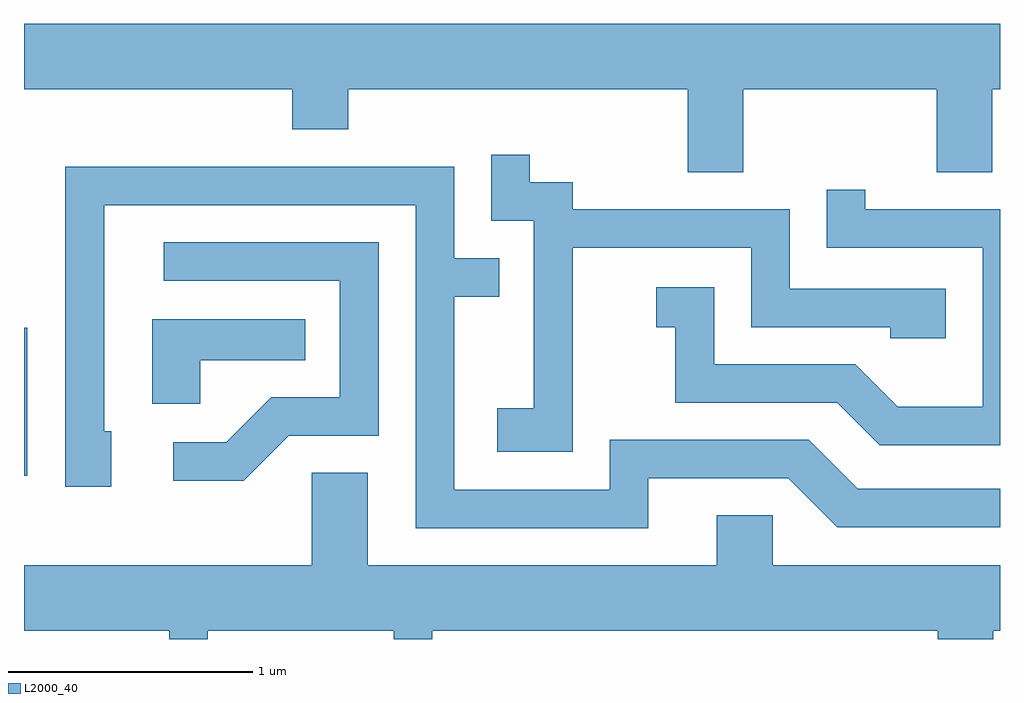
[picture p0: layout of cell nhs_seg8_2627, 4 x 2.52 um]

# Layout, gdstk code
import gdstk
lib = gdstk.Library(unit=1e-6, precision=1e-09)
def R(c, l, rs):  # rectangles x0, y0, x1, y1
    for r in rs: c.add(gdstk.rectangle(r[:2], r[2:], *l))
def P(c, l, *ps):  # polygons
    for p in ps: c.add(gdstk.Polygon(p, *l))
L2000_40 = (2000, 40)

nhs_seg8_2627 = lib.new_cell('nhs_seg8_2627')
R(nhs_seg8_2627, L2000_40, [(263.611,1877.011,263.624,1877.618)])
P(nhs_seg8_2627, L2000_40, [(266.559,1878.596),(267.351,1878.596),(267.351,1878.256),(267.579,1878.256),(267.579,1878.596),(267.611,1878.596),(267.611,1878.864),(263.611,1878.864),(263.611,1878.596),(264.711,1878.596),(264.711,1878.431),(264.939,1878.431),(264.939,1878.596),(266.331,1878.596),(266.331,1878.256),(266.559,1878.256)],
  [(265.859,1877.946),(266.591,1877.946),(266.591,1877.621),(267.161,1877.621),(267.161,1877.576),(267.389,1877.576),(267.389,1877.779),(266.749,1877.779),(266.749,1878.104),(265.859,1878.104),(265.859,1878.214),(265.684,1878.214),(265.684,1878.328),(265.526,1878.328),(265.526,1878.056),(265.701,1878.056),(265.701,1877.289),(265.551,1877.289),(265.551,1877.111),(265.859,1877.111)],
  [(266.169,1877.001),(266.744,1877.001),(266.944,1876.801),(267.611,1876.801),(267.611,1876.959),(267.027,1876.959),(266.827,1877.159),(266.011,1877.159),(266.011,1876.954),(265.374,1876.954),(265.374,1877.746),(265.558,1877.746),(265.558,1877.904),(265.374,1877.904),(265.374,1878.279),(263.781,1878.279),(263.781,1876.966),(263.969,1876.966),(263.969,1877.194),(263.939,1877.194),(263.939,1878.121),(265.216,1878.121),(265.216,1876.796),(266.169,1876.796)],
  [(267.611,1878.104),(267.059,1878.104),(267.059,1878.183),(266.901,1878.183),(266.901,1877.946),(267.541,1877.946),(267.541,1877.294),(267.192,1877.294),(267.017,1877.469),(266.439,1877.469),(266.439,1877.784),(266.203,1877.784),(266.203,1877.621),(266.281,1877.621),(266.281,1877.311),(266.944,1877.311),(267.119,1877.136),(267.611,1877.136)],
  [(264.697,1877.176),(265.064,1877.176),(265.064,1877.969),(264.183,1877.969),(264.183,1877.811),(264.906,1877.811),(264.906,1877.334),(264.624,1877.334),(264.439,1877.149),(264.223,1877.149),(264.223,1876.991),(264.512,1876.991)],
  [(264.334,1877.486),(264.763,1877.486),(264.763,1877.654),(264.136,1877.654),(264.136,1877.306),(264.334,1877.306)],
  [(264.364,1876.376),(265.126,1876.376),(265.126,1876.342),(265.284,1876.342),(265.284,1876.376),(267.356,1876.376),(267.356,1876.342),(267.584,1876.342),(267.584,1876.376),(267.611,1876.376),(267.611,1876.644),(266.679,1876.644),(266.679,1876.849),(266.451,1876.849),(266.451,1876.644),(265.019,1876.644),(265.019,1877.024),(264.791,1877.024),(264.791,1876.644),(263.611,1876.644),(263.611,1876.376),(264.206,1876.376),(264.206,1876.342),(264.364,1876.342)])

lib.write_gds('nhs_seg8_2627.gds')
